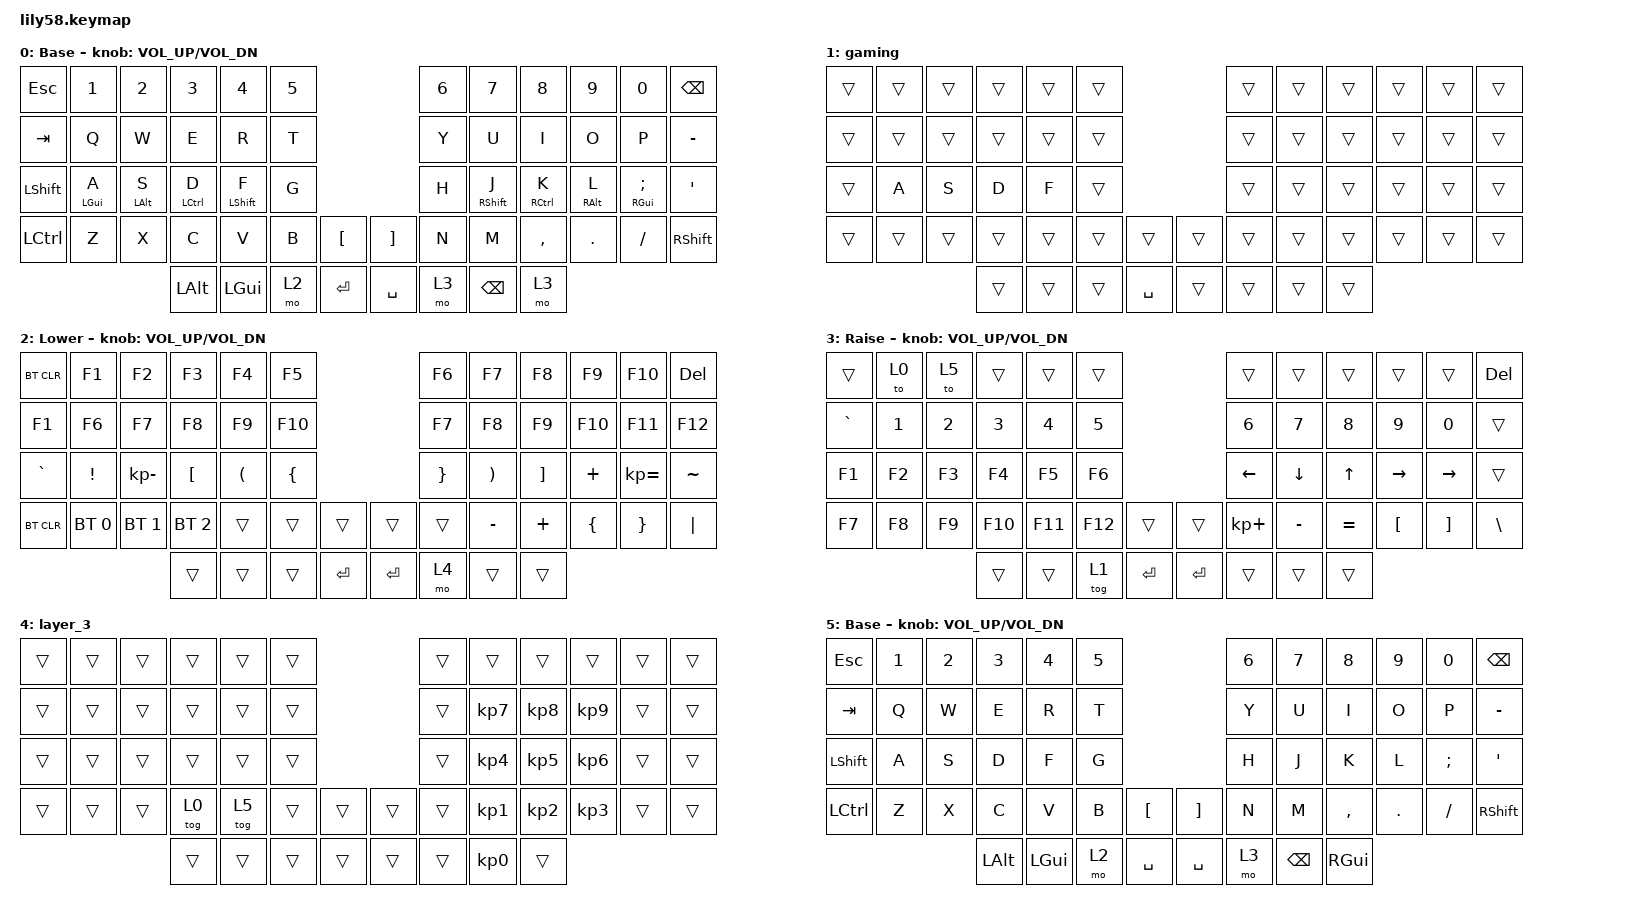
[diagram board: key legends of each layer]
/*
 * Copyright (c) 2020 The ZMK Contributors
 *
 * SPDX-License-Identifier: MIT
 */

#include <behaviors.dtsi>
#include <dt-bindings/zmk/bt.h>
#include <dt-bindings/zmk/keys.h>

&mt {
    tapping-term-ms = <400>;
    quick-tap-ms = <400>;
    flavor = "tap-preferred";
};

/ {
    keymap {
        compatible = "zmk,keymap";

        default_layer {
            // ------------------------------------------------------------------------------------------------------------
            // |  ESC  |  1  |  2  |  3   |  4   |  5   |                   |  6   |  7    |  8    |  9   |   0   |   `   |
            // |  TAB  |  Q  |  W  |  E   |  R   |  T   |                   |  Y   |  U    |  I    |  O   |   P   |   -   |
            // |  CTRL |  A  |  S  |  D   |  F   |  G   |                   |  H   |  J    |  K    |  L   |   ;   |   '   |
            // | SHIFT |  Z  |  X  |  C   |  V   |  B   |   "["  |  |  "]"  |  N   |  M    |  ,    |  .   |   /   | SHIFT |
            //                     | ALT  | GUI  | LOWER|  SPACE |  | ENTER | RAISE| BSPC  | GUI   |

            display-name = "Base";
            bindings = <
&kp ESC         &kp N1      &kp N2          &kp N3       &kp N4            &kp N5                          &kp N6  &kp N7             &kp N8       &kp N9           &kp N0              &kp BACKSPACE
&kp TAB         &kp Q       &kp W           &kp E        &kp R             &kp T                           &kp Y   &kp U              &kp I        &kp O            &kp P               &kp MINUS
&kp LEFT_SHIFT  &mt LGUI A  &mt LEFT_ALT S  &mt LCTRL D  &mt LEFT_SHIFT F  &kp G                           &kp H   &mt RIGHT_SHIFT J  &mt RCTRL K  &mt RIGHT_ALT L  &mt RIGHT_GUI SEMI  &kp SQT
&kp LCTRL       &kp Z       &kp X           &kp C        &kp V             &kp B   &kp LBKT     &kp RBKT   &kp N   &kp M              &kp COMMA    &kp DOT          &kp FSLH            &kp RSHFT
                                            &kp LALT     &kp LGUI          &mo 2   &kp ENTER    &kp SPACE  &mo 3   &kp BSPC           &mo 3
            >;

            sensor-bindings = <&inc_dec_kp C_VOL_UP C_VOL_DN>;
        };

        gaming {
            bindings = <
&trans  &trans  &trans  &trans  &trans  &trans                       &trans  &trans  &trans  &trans  &trans  &trans
&trans  &trans  &trans  &trans  &trans  &trans                       &trans  &trans  &trans  &trans  &trans  &trans
&trans  &kp A   &kp S   &kp D   &kp F   &trans                       &trans  &trans  &trans  &trans  &trans  &trans
&trans  &trans  &trans  &trans  &trans  &trans  &trans       &trans  &trans  &trans  &trans  &trans  &trans  &trans
                        &trans  &trans  &trans  &kp SPACE    &trans  &trans  &trans  &trans
            >;
        };

        lower_layer {
            // ------------------------------------------------------------------------------------------------------------
            // | BTCLR | BT1 | BT2 |  BT3 |  BT4 |  BT5 |                   |      |       |       |      |       |       |
            // |  F1   |  F2 |  F3 |  F4  |  F5  |  F6  |                   |  F7  |  F8   |  F9   |  F10 |  F11  |  F12  |
            // |   `   |  !  |  @  |  #   |  $   |  %   |                   |  ^   |  &    |  *    |  (   |   )   |   ~   |
            // |       |     |     |      |      |      |        |  |       |      |  _    |  +    |  {   |   }   |  "|"  |
            //                     |      |      |      |        |  |       |      |       |       |

            display-name = "Lower";
            bindings = <
&bt BT_CLR  &kp F1        &kp F2        &kp F3            &kp F4                &kp F5                                  &kp F6           &kp F7                 &kp F8             &kp F9    &kp F10       &kp DELETE
&kp F1      &kp F6        &kp F7        &kp F8            &kp F9                &kp F10                                 &kp F7           &kp F8                 &kp F9             &kp F10   &kp F11       &kp F12
&kp GRAVE   &kp EXCL      &kp KP_MINUS  &kp LEFT_BRACKET  &kp LEFT_PARENTHESIS  &kp LEFT_BRACE                          &kp RIGHT_BRACE  &kp RIGHT_PARENTHESIS  &kp RIGHT_BRACKET  &kp PLUS  &kp KP_EQUAL  &kp TILDE
&bt BT_CLR  &bt BT_SEL 0  &bt BT_SEL 1  &bt BT_SEL 2      &trans                &trans          &trans       &trans     &trans           &kp MINUS              &kp PLUS           &kp LBRC  &kp RBRC      &kp PIPE
                                        &trans            &trans                &trans          &kp ENTER    &kp ENTER  &mo 4            &trans                 &trans
            >;

            sensor-bindings = <&inc_dec_kp C_VOL_UP C_VOL_DN>;
        };

        raise_layer {
            // ------------------------------------------------------------------------------------------------------------
            // |       |     |     |      |      |      |                   |      |       |       |      |       |       |
            // |   `   |  1  |  2  |  3   |  4   |  5   |                   |  6   |   7   |   8   |  9   |   0   |       |
            // |   F1  |  F2 |  F3 |  F4  |  F5  |  F6  |                   |      |   <-  |   v   |  ^   |  ->   |       |
            // |   F7  |  F8 |  F9 |  F10 |  F11 |  F12 |        |  |       |  +   |   -   |   =   |  [   |   ]   |   \   |
            //                     |      |      |      |        |  |       |      |       |       |

            display-name = "Raise";
            bindings = <
&trans     &to 0   &to 5   &trans   &trans   &trans                           &trans          &trans     &trans     &trans     &trans     &kp DELETE
&kp GRAVE  &kp N1  &kp N2  &kp N3   &kp N4   &kp N5                           &kp N6          &kp N7     &kp N8     &kp N9     &kp N0     &trans
&kp F1     &kp F2  &kp F3  &kp F4   &kp F5   &kp F6                           &kp LEFT_ARROW  &kp DOWN   &kp UP     &kp RIGHT  &kp RIGHT  &trans
&kp F7     &kp F8  &kp F9  &kp F10  &kp F11  &kp F12  &trans       &trans     &kp KP_PLUS     &kp MINUS  &kp EQUAL  &kp LBKT   &kp RBKT   &kp BSLH
                           &trans   &trans   &tog 1   &kp ENTER    &kp ENTER  &trans          &trans     &trans
            >;

            sensor-bindings = <&inc_dec_kp C_VOL_UP C_VOL_DN>;
        };

        layer_3 {
            bindings = <
&trans  &trans  &trans  &trans  &trans  &trans                    &trans  &trans           &trans           &trans           &trans  &trans
&trans  &trans  &trans  &trans  &trans  &trans                    &trans  &kp KP_NUMBER_7  &kp KP_NUMBER_8  &kp KP_NUMBER_9  &trans  &trans
&trans  &trans  &trans  &trans  &trans  &trans                    &trans  &kp KP_NUMBER_4  &kp KP_NUMBER_5  &kp KP_NUMBER_6  &trans  &trans
&trans  &trans  &trans  &tog 0  &tog 5  &trans  &trans    &trans  &trans  &kp KP_NUMBER_1  &kp KP_NUMBER_2  &kp KP_NUMBER_3  &trans  &trans
                        &trans  &trans  &trans  &trans    &trans  &trans  &kp KP_NUMBER_0  &trans
            >;
        };

        layer_4 {
            display-name = "Base";
            bindings = <
&kp ESC         &kp N1  &kp N2  &kp N3    &kp N4    &kp N5                          &kp N6  &kp N7    &kp N8     &kp N9   &kp N0    &kp BACKSPACE
&kp TAB         &kp Q   &kp W   &kp E     &kp R     &kp T                           &kp Y   &kp U     &kp I      &kp O    &kp P     &kp MINUS
&kp LEFT_SHIFT  &kp A   &kp S   &kp D     &kp F     &kp G                           &kp H   &kp J     &kp K      &kp L    &kp SEMI  &kp SQT
&kp LCTRL       &kp Z   &kp X   &kp C     &kp V     &kp B   &kp LBKT     &kp RBKT   &kp N   &kp M     &kp COMMA  &kp DOT  &kp FSLH  &kp RSHFT
                                &kp LALT  &kp LGUI  &mo 2   &kp SPACE    &kp SPACE  &mo 3   &kp BSPC  &kp RGUI
            >;

            sensor-bindings = <&inc_dec_kp C_VOL_UP C_VOL_DN>;
        };
    };
};
